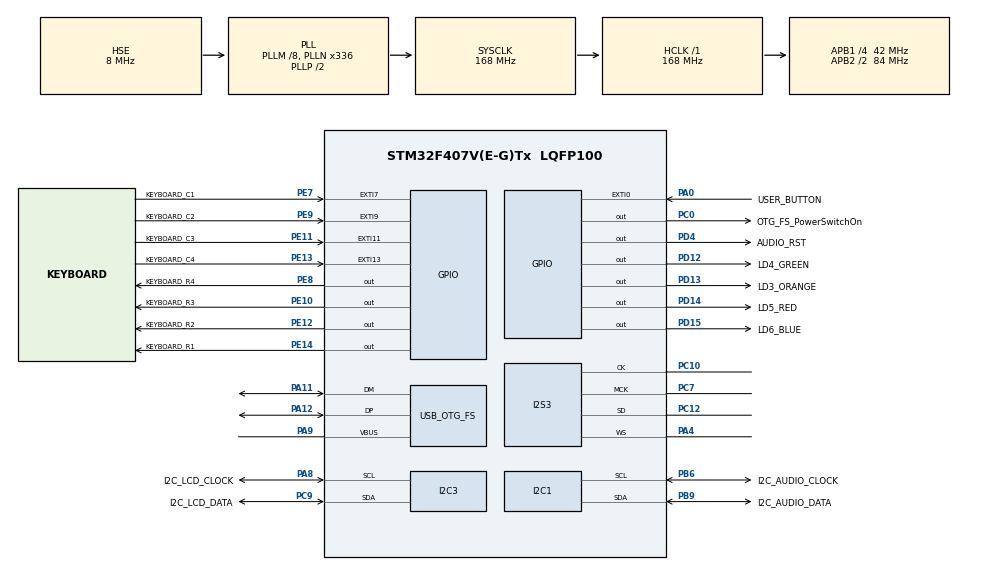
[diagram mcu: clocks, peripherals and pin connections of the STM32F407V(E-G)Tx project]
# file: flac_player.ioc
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Dma.Request0=SPI3_TX
Dma.SPI3_TX.0.Direction=DMA_MEMORY_TO_PERIPH
Dma.SPI3_TX.0.FIFOMode=DMA_FIFOMODE_ENABLE
Dma.SPI3_TX.0.FIFOThreshold=DMA_FIFO_THRESHOLD_FULL
Dma.SPI3_TX.0.Instance=DMA1_Stream5
Dma.SPI3_TX.0.MemBurst=DMA_MBURST_SINGLE
Dma.SPI3_TX.0.MemDataAlignment=DMA_MDATAALIGN_HALFWORD
Dma.SPI3_TX.0.MemInc=DMA_MINC_ENABLE
Dma.SPI3_TX.0.Mode=DMA_CIRCULAR
Dma.SPI3_TX.0.PeriphBurst=DMA_PBURST_SINGLE
Dma.SPI3_TX.0.PeriphDataAlignment=DMA_PDATAALIGN_HALFWORD
Dma.SPI3_TX.0.PeriphInc=DMA_PINC_DISABLE
Dma.SPI3_TX.0.Priority=DMA_PRIORITY_LOW
FATFS._USE_LFN=1
I2S3.AudioFreq=I2S_AUDIOFREQ_44K
I2S3.DataFormat=I2S_DATAFORMAT_16B
I2S3.ErrorAudioFreq=0.24 %
I2S3.FullDuplexMode=I2S_FULLDUPLEXMODE_DISABLE
I2S3.Instance=SPI$Index
I2S3.RealAudioFreq=44.108 KHz
I2S3.VirtualMode=I2S_MODE_MASTER
Mcu.Family=STM32F4
Mcu.Name=STM32F407V(E-G)Tx
Mcu.Package=LQFP100
NVIC.DMA1_Stream5_IRQn=true\:0\:0\:false\:false\:true\:false\:true\:true
NVIC.EXTI0_IRQn=true\:0\:0\:false\:false\:true\:true\:true\:true
NVIC.EXTI15_10_IRQn=true\:0\:0\:false\:false\:true\:true\:true\:true
NVIC.EXTI9_5_IRQn=true\:0\:0\:false\:false\:true\:true\:true\:true
NVIC.HASH_RNG_IRQn=true\:0\:0\:false\:false\:true\:true\:true\:true
NVIC.OTG_FS_IRQn=true\:0\:0\:false\:false\:true\:true\:true\:true
NVIC.PriorityGroup=NVIC_PRIORITYGROUP_0
NVIC.TIM2_IRQn=true\:0\:0\:false\:false\:true\:true\:true\:true
PA0-WKUP.GPIO_Label=USER_BUTTON
PA0-WKUP.GPIO_ModeDefaultEXTI=GPIO_MODE_IT_FALLING
PA0-WKUP.GPIO_PuPd=GPIO_NOPULL
PA0-WKUP.Signal=GPXTI0
PA11.Mode=Host_Only
PA11.Signal=USB_OTG_FS_DM
PA12.Mode=Host_Only
PA12.Signal=USB_OTG_FS_DP
PA4.Mode=Half_Duplex_Master
PA4.Signal=I2S3_WS
PA8.GPIO_Label=I2C_LCD_CLOCK
PA8.GPIO_Pu=GPIO_PULLUP
PA8.Mode=I2C
PA8.Signal=I2C3_SCL
PA9.Mode=Activate_VBUS
PA9.Signal=USB_OTG_FS_VBUS
PB6.GPIO_Label=I2C_AUDIO_CLOCK
PB6.Mode=I2C
PB6.Signal=I2C1_SCL
PB9.GPIO_Label=I2C_AUDIO_DATA
PB9.Mode=I2C
PB9.Signal=I2C1_SDA
PC0.GPIO_Label=OTG_FS_PowerSwitchOn
PC0.Signal=GPIO_Output
PC10.Mode=Half_Duplex_Master
PC10.Signal=I2S3_CK
PC12.Mode=Half_Duplex_Master
PC12.Signal=I2S3_SD
PC7.Mode=Master_Clock_Activated
PC7.Signal=I2S3_MCK
PC9.GPIO_Label=I2C_LCD_DATA
PC9.GPIO_Pu=GPIO_PULLUP
PC9.Mode=I2C
PC9.Signal=I2C3_SDA
PD12.GPIO_Label=LD4_GREEN
PD12.Signal=GPIO_Output
PD13.GPIO_Label=LD3_ORANGE
PD13.Signal=GPIO_Output
PD14.GPIO_Label=LD5_RED
PD14.Signal=GPIO_Output
PD15.GPIO_Label=LD6_BLUE
PD15.Signal=GPIO_Output
PD4.GPIO_Label=AUDIO_RST
PD4.Signal=GPIO_Output
PE10.GPIO_Label=KEYBOARD_R3
PE10.Signal=GPIO_Output
PE11.GPIO_Label=KEYBOARD_C3
PE11.GPIO_ModeDefaultEXTI=GPIO_MODE_IT_FALLING
PE11.GPIO_PuPd=GPIO_PULLUP
PE11.Signal=GPXTI11
PE12.GPIO_Label=KEYBOARD_R2
PE12.Signal=GPIO_Output
PE13.GPIO_Label=KEYBOARD_C4
PE13.GPIO_ModeDefaultEXTI=GPIO_MODE_IT_FALLING
PE13.GPIO_PuPd=GPIO_PULLUP
PE13.Signal=GPXTI13
PE14.GPIO_Label=KEYBOARD_R1
PE14.Signal=GPIO_Output
PE7.GPIO_Label=KEYBOARD_C1
PE7.GPIO_ModeDefaultEXTI=GPIO_MODE_IT_FALLING
PE7.GPIO_PuPd=GPIO_PULLUP
PE7.Signal=GPXTI7
PE8.GPIO_Label=KEYBOARD_R4
PE8.Signal=GPIO_Output
PE9.GPIO_Label=KEYBOARD_C2
PE9.GPIO_ModeDefaultEXTI=GPIO_MODE_IT_FALLING
PE9.GPIO_PuPd=GPIO_PULLUP
PE9.Signal=GPXTI9
PH0-OSC_IN.Mode=HSE-External-Oscillator
PH0-OSC_IN.Signal=RCC_OSC_IN
PH1-OSC_OUT.Mode=HSE-External-Oscillator
PH1-OSC_OUT.Signal=RCC_OSC_OUT
ProjectManager.HeapSize=0x1000
ProjectManager.StackSize=0x1000
ProjectManager.TargetToolchain=STM32CubeIDE
RCC.48MHZClocksFreq_Value=48000000
RCC.AHBFreq_Value=168000000
RCC.APB1CLKDivider=RCC_HCLK_DIV4
RCC.APB1Freq_Value=42000000
RCC.APB1TimFreq_Value=84000000
RCC.APB2CLKDivider=RCC_HCLK_DIV2
RCC.APB2Freq_Value=84000000
RCC.APB2TimFreq_Value=168000000
RCC.CortexFreq_Value=168000000
RCC.HCLKFreq_Value=168000000
RCC.HSE_VALUE=8000000
RCC.HSI_VALUE=16000000
RCC.LSE_VALUE=32768
RCC.PLLI2SN=271
RCC.PLLI2SR=6
RCC.PLLM=8
RCC.PLLN=336
RCC.PLLQ=7
RCC.SYSCLKFreq_VALUE=168000000
RCC.SYSCLKSource=RCC_SYSCLKSOURCE_PLLCLK
RCC.VCOOutputFreq_Value=336000000
TIM2.Period=5000-1
TIM2.Prescaler=16800-1
USB_HOST.SW_VBUS_DRIVE_MSC_FS=false
USB_HOST.USBH_HandleTypeDef-MSC_FS=hUsbHostFS
USB_HOST.VirtualModeFS=Msc
USB_OTG_FS.VirtualMode=Host_Only
USB_OTG_FS.phy_itface=HCD_PHY_EMBEDDED
VP_FATFS_VS_USB.Mode=USB
VP_RNG_VS_RNG.Mode=RNG_Activate
VP_TIM2_VS_ClockSourceINT.Mode=Internal
VP_USB_HOST_VS_USB_HOST_MSC_FS.Mode=MSC_FS
board=STM32F407G-DISC1

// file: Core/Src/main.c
/* USER CODE BEGIN Header */
/**
 ******************************************************************************
 * @file           : main.c
 * @brief          : Main program body
 ******************************************************************************
 * @attention
 *
 * Copyright (c) 2025 STMicroelectronics.
 * All rights reserved.
 *
 * This software is licensed under terms that can be found in the LICENSE file
 * in the root directory of this software component.
 * If no LICENSE file comes with this software, it is provided AS-IS.
 *
 ******************************************************************************
 */
/* USER CODE END Header */
#include "main.h"
#include "fatfs.h"
#include "usb_host.h"

/* USER CODE BEGIN Includes */
#include "CS43L22.h"
#include "audioI2S.h"
#include "lcd16x2_i2c.h"
#include "wav_player.h"

/* USER CODE END Includes */

/* USER CODE BEGIN PTD */
extern ApplicationTypeDef Appli_state;
extern WAV_FileList wavFiles;

/* USER CODE END PTD */

/* USER CODE BEGIN PD */
#define NUM_ROWS 4
#define NUM_COLS 4

/* USER CODE END PD */

I2C_HandleTypeDef hi2c1;
I2C_HandleTypeDef hi2c3;

I2S_HandleTypeDef hi2s3;
DMA_HandleTypeDef hdma_spi3_tx;

TIM_HandleTypeDef htim2;

/* USER CODE BEGIN PV */

bool is_usb_mounted = false;

bool continue_playback = false;
bool play_pause_toggle = false;
bool mute_toggle = false;
uint8_t volume = 191;
uint8_t chars_to_display;

volatile uint8_t key_number = 0;
volatile uint8_t user_button = 0;

char scroll_text[MAX_FILENAME_LENGTH];
uint8_t text_length = 0;
uint8_t current_position = 0;
uint16_t scroll_delay = 750;
uint8_t scrolling_active = 0;

GPIO_InitTypeDef GPIO_InitStructPrivate = {0};

GPIO_TypeDef *ROW_PORTS[4] = {
    KEYBOARD_R1_GPIO_Port,
    KEYBOARD_R2_GPIO_Port,
    KEYBOARD_R3_GPIO_Port,
    KEYBOARD_R4_GPIO_Port};

const uint16_t ROW_PINS[4] = {
    KEYBOARD_R1_Pin,
    KEYBOARD_R2_Pin,
    KEYBOARD_R3_Pin,
    KEYBOARD_R4_Pin};

const uint16_t COL_PINS[4] = {
    KEYBOARD_C1_Pin,
    KEYBOARD_C2_Pin,
    KEYBOARD_C3_Pin,
    KEYBOARD_C4_Pin};

// Lookup table for key values
const uint8_t KEY_VALUES[4][4] = {
    {1, 2, 3, 4},    // Row 1 values
    {5, 6, 7, 8},    // Row 2 values
    {9, 10, 11, 12}, // Row 3 values
    {13, 14, 15, 16} // Row 4 values
};

uint32_t previous_time = 0;
uint32_t current_time = 0;

/* USER CODE END PV */

void SystemClock_Config(void);
static void MX_GPIO_Init(void);
static void MX_DMA_Init(void);
static void MX_I2C1_Init(void);
static void MX_I2S3_Init(void);
static void MX_I2C3_Init(void);
static void MX_TIM2_Init(void);
void MX_USB_HOST_Process(void);

/* USER CODE BEGIN PFP */
void initialize_peripherals(void);
void file_select(void);
void handle_player_controls(void);
void handle_play_pause_toggle(void);
void update_track_display(void);
void display_text(const char *text);
void update_volume_bar(uint8_t volume);

/* USER CODE END PFP */

/* USER CODE BEGIN 0 */
void initialize_peripherals()
{
    // Audio init
    CS43_Init(hi2c1, CS43_MODE_I2S);
    CS43_set_volume(volume);
    CS43_enable_right_left(CS43_RIGHT_LEFT);
    audioI2S_setHandle(&hi2s3);

    // LCD init
    lcd16x2_i2c_init(&hi2c3);
    lcd16x2_i2c_audio_ch();
    HAL_TIM_Base_Start_IT(&htim2);

    // Red LED init
    HAL_GPIO_WritePin(LD5_RED_GPIO_Port, LD5_RED_Pin, GPIO_PIN_SET);
}

void file_select(void)
{
    while (key_number != 6)
    {
        switch (key_number)
        {
        case 5: // Previous file
            wavFiles.currentIndex = (wavFiles.currentIndex - 1 + wavFiles.count) % wavFiles.count;
            lcd16x2_i2c_clear();
            update_track_display();
            key_number = 0;
            break;
        case 6: // Select
            continue_playback = true;
            break;
        case 7: // Next file
            wavFiles.currentIndex = (wavFiles.currentIndex + 1) % wavFiles.count;
            lcd16x2_i2c_clear();
            update_track_display();
            key_number = 0;
            break;
        }
    }
    key_number = 0;
}

void handle_player_controls(void)
{
    switch (key_number)
    {
    case 1: // Stop
        wavPlayer_stop();
        lcd16x2_i2c_clear();
        continue_playback = false;
        play_pause_toggle = 0;
        break;
    case 2: // Volume Up
        volume = (255 - volume >= 16) ? volume + 16 : 255;
        CS43_set_volume(volume);
        update_volume_bar(volume);
        break;
    case 3: // Mute
        mute_toggle ^= 1;
        CS43_set_mute(mute_toggle);
        update_volume_bar(mute_toggle ? 0 : volume);
        break;
    case 5: // Previous Track
        wavPlayer_previousTrack();
        wavPlayer_play();
        lcd16x2_i2c_set_cursor(1, 8);
        lcd16x2_i2c_print_audio(chars_to_display > 8 ? "//i" : "//p");
        HAL_GPIO_WritePin(LD6_BLUE_GPIO_Port, LD6_BLUE_Pin, GPIO_PIN_SET);
        update_track_display();
        break;
    case 6: // Play/Pause
        handle_play_pause_toggle();
        break;
    case 7: // Next Track
        wavPlayer_nextTrack();
        wavPlayer_play();
        lcd16x2_i2c_set_cursor(1, 8);
        lcd16x2_i2c_print_audio(chars_to_display > 8 ? "//i" : "//p");
        HAL_GPIO_WritePin(LD6_BLUE_GPIO_Port, LD6_BLUE_Pin, GPIO_PIN_SET);
        update_track_display();
        break;
    case 10: // Volume Down
        volume = (volume >= 16) ? volume - 16 : 0;
        CS43_set_volume(volume);
        update_volume_bar(volume);
        break;
    }
    key_number = 0;
}

void handle_play_pause_toggle(void)
{
    play_pause_toggle ^= 1;
    lcd16x2_i2c_set_cursor(1, 8);
    if (play_pause_toggle)
    {
        wavPlayer_pause();
        lcd16x2_i2c_print_audio(chars_to_display > 8 ? "//I" : "//P");
        HAL_GPIO_WritePin(LD6_BLUE_GPIO_Port, LD6_BLUE_Pin, GPIO_PIN_RESET);
    }
    else
    {
        wavPlayer_resume();
        lcd16x2_i2c_print_audio(chars_to_display > 8 ? "//i" : "//p");
        HAL_GPIO_WritePin(LD6_BLUE_GPIO_Port, LD6_BLUE_Pin, GPIO_PIN_SET);
    }
}

void update_track_display(void)
{
    lcd16x2_i2c_set_cursor(0, 0);
    lcd16x2_i2c_printf("                ");
    lcd16x2_i2c_set_cursor(0, 0);
    display_text(wavFiles.filenames[wavFiles.currentIndex]);
}

void display_text(const char *text)
{
    snprintf(scroll_text, MAX_FILENAME_LENGTH - 1, "%s%s", text, strlen(text) > 16 ? "      " : "");
    scroll_text[MAX_FILENAME_LENGTH - 1] = '\0';
    text_length = strlen(scroll_text);

    char display[17] = {0};
    strncpy(display, scroll_text, 16);

    lcd16x2_i2c_printf(display);

    scrolling_active = (text_length > 16);
    current_position = 0;
}

void update_volume_bar(uint8_t volume)
{
    // Calculate how many characters to display (0-16 range)
    chars_to_display = (volume * 16 + 127) / 255;

    // Draw first half (positions 0-7)
    lcd16x2_i2c_set_cursor(1, 0);
    for (uint8_t i = 0; i < 16; i++)
        {
            lcd16x2_i2c_print_audio(i < chars_to_display ? "//v" : " ");
        }

    lcd16x2_i2c_set_cursor(1, 8);
        if (chars_to_display > 8)
        {
            lcd16x2_i2c_print_audio(play_pause_toggle ? "//I" : "//i"); // Inverted symbols
        }
        else
        {
            lcd16x2_i2c_print_audio(play_pause_toggle ? "//P" : "//p"); // Normal symbols
        }
}

/* USER CODE END 0 */

int main(void)
{

    /* MCU Configuration--------------------------------------------------------*/

    /* Reset of all peripherals, Initializes the Flash interface and the Systick. */
    HAL_Init();

    /* Configure the system clock */
    SystemClock_Config();

    /* Initialize all configured peripherals */
    MX_GPIO_Init();
    MX_DMA_Init();
    MX_I2C1_Init();
    MX_I2S3_Init();
    MX_I2C3_Init();
    MX_USB_HOST_Init();
    MX_FATFS_Init();
    MX_TIM2_Init();
    /* USER CODE BEGIN 2 */
    initialize_peripherals();

    /* USER CODE END 2 */

    /* Infinite loop */
    while (1)
    {
        MX_USB_HOST_Process();

        /* USER CODE BEGIN 3 */
        if (Appli_state == APPLICATION_START)
        {
            HAL_GPIO_WritePin(LD4_GREEN_GPIO_Port, LD4_GREEN_Pin, GPIO_PIN_SET);
            HAL_GPIO_WritePin(LD5_RED_GPIO_Port, LD5_RED_Pin, GPIO_PIN_RESET);
        }
        else if (Appli_state == APPLICATION_DISCONNECT)
        {
            HAL_GPIO_WritePin(LD4_GREEN_GPIO_Port, LD4_GREEN_Pin, GPIO_PIN_RESET);
            HAL_GPIO_WritePin(LD5_RED_GPIO_Port, LD5_RED_Pin, GPIO_PIN_SET);
        }

        if (Appli_state == APPLICATION_READY)
        {
            if (!is_usb_mounted)
            {
                f_mount(&USBHFatFS, (const TCHAR *)USBHPath, 1);
                is_usb_mounted = true;
                wavPlayer_scanUSB();
            }

            update_track_display();

            if (!continue_playback)
            {
                file_select();
            }

            lcd16x2_i2c_set_cursor(1, 8);
            lcd16x2_i2c_print_audio("//p");
            update_volume_bar(volume);
            HAL_GPIO_WritePin(LD6_BLUE_GPIO_Port, LD6_BLUE_Pin, GPIO_PIN_SET);

            wavPlayer_fileSelect(wavFiles.filenames[wavFiles.currentIndex]);
            wavPlayer_play();

            while (!wavPlayer_isFinished())
            {
                wavPlayer_process();
                handle_player_controls();
                if (!continue_playback)
                    break;
            }
            if (continue_playback)
            {
                audioI2S_stop();
                wavFiles.currentIndex = (wavFiles.currentIndex + 1) % wavFiles.count;
                update_track_display();
            }
        }
    }

    /* USER CODE END 3 */
}

void SystemClock_Config(void)
{
    RCC_OscInitTypeDef RCC_OscInitStruct = {0};
    RCC_ClkInitTypeDef RCC_ClkInitStruct = {0};

    /** Configure the main internal regulator output voltage
     */
    __HAL_RCC_PWR_CLK_ENABLE();
    __HAL_PWR_VOLTAGESCALING_CONFIG(PWR_REGULATOR_VOLTAGE_SCALE1);

    /** Initializes the RCC Oscillators according to the specified parameters
     * in the RCC_OscInitTypeDef structure.
     */
    RCC_OscInitStruct.OscillatorType = RCC_OSCILLATORTYPE_HSE;
    RCC_OscInitStruct.HSEState = RCC_HSE_ON;
    RCC_OscInitStruct.PLL.PLLState = RCC_PLL_ON;
    RCC_OscInitStruct.PLL.PLLSource = RCC_PLLSOURCE_HSE;
    RCC_OscInitStruct.PLL.PLLM = 8;
    RCC_OscInitStruct.PLL.PLLN = 336;
    RCC_OscInitStruct.PLL.PLLP = RCC_PLLP_DIV2;
    RCC_OscInitStruct.PLL.PLLQ = 7;
    if (HAL_RCC_OscConfig(&RCC_OscInitStruct) != HAL_OK)
    {
        Error_Handler();
    }

    /** Initializes the CPU, AHB and APB buses clocks
     */
    RCC_ClkInitStruct.ClockType = RCC_CLOCKTYPE_HCLK | RCC_CLOCKTYPE_SYSCLK | RCC_CLOCKTYPE_PCLK1 | RCC_CLOCKTYPE_PCLK2;
    RCC_ClkInitStruct.SYSCLKSource = RCC_SYSCLKSOURCE_PLLCLK;
    RCC_ClkInitStruct.AHBCLKDivider = RCC_SYSCLK_DIV1;
    RCC_ClkInitStruct.APB1CLKDivider = RCC_HCLK_DIV4;
    RCC_ClkInitStruct.APB2CLKDivider = RCC_HCLK_DIV2;

    if (HAL_RCC_ClockConfig(&RCC_ClkInitStruct, FLASH_LATENCY_5) != HAL_OK)
    {
        Error_Handler();
    }
}

static void MX_I2C1_Init(void)
{

    hi2c1.Instance = I2C1;
    hi2c1.Init.ClockSpeed = 100000;
    hi2c1.Init.DutyCycle = I2C_DUTYCYCLE_2;
    hi2c1.Init.OwnAddress1 = 0;
    hi2c1.Init.AddressingMode = I2C_ADDRESSINGMODE_7BIT;
    hi2c1.Init.DualAddressMode = I2C_DUALADDRESS_DISABLE;
    hi2c1.Init.OwnAddress2 = 0;
    hi2c1.Init.GeneralCallMode = I2C_GENERALCALL_DISABLE;
    hi2c1.Init.NoStretchMode = I2C_NOSTRETCH_DISABLE;
    if (HAL_I2C_Init(&hi2c1) != HAL_OK)
    {
        Error_Handler();
    }
}

static void MX_I2C3_Init(void)
{

    hi2c3.Instance = I2C3;
    hi2c3.Init.ClockSpeed = 100000;
    hi2c3.Init.DutyCycle = I2C_DUTYCYCLE_2;
    hi2c3.Init.OwnAddress1 = 0;
    hi2c3.Init.AddressingMode = I2C_ADDRESSINGMODE_7BIT;
    hi2c3.Init.DualAddressMode = I2C_DUALADDRESS_DISABLE;
    hi2c3.Init.OwnAddress2 = 0;
    hi2c3.Init.GeneralCallMode = I2C_GENERALCALL_DISABLE;
    hi2c3.Init.NoStretchMode = I2C_NOSTRETCH_DISABLE;
    if (HAL_I2C_Init(&hi2c3) != HAL_OK)
    {
        Error_Handler();
    }
}

static void MX_I2S3_Init(void)
{

    hi2s3.Instance = SPI3;
    hi2s3.Init.Mode = I2S_MODE_MASTER_TX;
    hi2s3.Init.Standard = I2S_STANDARD_PHILIPS;
    hi2s3.Init.DataFormat = I2S_DATAFORMAT_16B;
    hi2s3.Init.MCLKOutput = I2S_MCLKOUTPUT_ENABLE;
    hi2s3.Init.AudioFreq = I2S_AUDIOFREQ_44K;
    hi2s3.Init.CPOL = I2S_CPOL_LOW;
    hi2s3.Init.ClockSource = I2S_CLOCK_PLL;
    hi2s3.Init.FullDuplexMode = I2S_FULLDUPLEXMODE_DISABLE;
    if (HAL_I2S_Init(&hi2s3) != HAL_OK)
    {
        Error_Handler();
    }
}

static void MX_TIM2_Init(void)
{

    TIM_ClockConfigTypeDef sClockSourceConfig = {0};
    TIM_MasterConfigTypeDef sMasterConfig = {0};

    htim2.Instance = TIM2;
    htim2.Init.Prescaler = 168000 - 1;
    htim2.Init.CounterMode = TIM_COUNTERMODE_UP;
    htim2.Init.Period = scroll_delay - 1;
    htim2.Init.ClockDivision = TIM_CLOCKDIVISION_DIV1;
    htim2.Init.AutoReloadPreload = TIM_AUTORELOAD_PRELOAD_DISABLE;
    if (HAL_TIM_Base_Init(&htim2) != HAL_OK)
    {
        Error_Handler();
    }
    sClockSourceConfig.ClockSource = TIM_CLOCKSOURCE_INTERNAL;
    if (HAL_TIM_ConfigClockSource(&htim2, &sClockSourceConfig) != HAL_OK)
    {
        Error_Handler();
    }
    sMasterConfig.MasterOutputTrigger = TIM_TRGO_RESET;
    sMasterConfig.MasterSlaveMode = TIM_MASTERSLAVEMODE_DISABLE;
    if (HAL_TIMEx_MasterConfigSynchronization(&htim2, &sMasterConfig) != HAL_OK)
    {
        Error_Handler();
    }
}

static void MX_DMA_Init(void)
{

    /* DMA controller clock enable */
    __HAL_RCC_DMA1_CLK_ENABLE();

    /* DMA interrupt init */
    /* DMA1_Stream5_IRQn interrupt configuration */
    HAL_NVIC_SetPriority(DMA1_Stream5_IRQn, 0, 0);
    HAL_NVIC_EnableIRQ(DMA1_Stream5_IRQn);
}

static void MX_GPIO_Init(void)
{
    GPIO_InitTypeDef GPIO_InitStruct = {0};

    /* GPIO Ports Clock Enable */
    __HAL_RCC_GPIOH_CLK_ENABLE();
    __HAL_RCC_GPIOC_CLK_ENABLE();
    __HAL_RCC_GPIOA_CLK_ENABLE();
    __HAL_RCC_GPIOE_CLK_ENABLE();
    __HAL_RCC_GPIOD_CLK_ENABLE();
    __HAL_RCC_GPIOB_CLK_ENABLE();

    /*Configure GPIO pin Output Level */
    HAL_GPIO_WritePin(OTG_FS_PowerSwitchOn_GPIO_Port, OTG_FS_PowerSwitchOn_Pin, GPIO_PIN_RESET);

    /*Configure GPIO pin Output Level */
    HAL_GPIO_WritePin(GPIOE, KEYBOARD_R4_Pin | KEYBOARD_R3_Pin | KEYBOARD_R2_Pin | KEYBOARD_R1_Pin, GPIO_PIN_RESET);

    /*Configure GPIO pin Output Level */
    HAL_GPIO_WritePin(GPIOD, LD4_GREEN_Pin | LD3_ORANGE_Pin | LD5_RED_Pin | LD6_BLUE_Pin | AUDIO_RST_Pin, GPIO_PIN_RESET);

    /*Configure GPIO pin : OTG_FS_PowerSwitchOn_Pin */
    GPIO_InitStruct.Pin = OTG_FS_PowerSwitchOn_Pin;
    GPIO_InitStruct.Mode = GPIO_MODE_OUTPUT_PP;
    GPIO_InitStruct.Pull = GPIO_NOPULL;
    GPIO_InitStruct.Speed = GPIO_SPEED_FREQ_LOW;
    HAL_GPIO_Init(OTG_FS_PowerSwitchOn_GPIO_Port, &GPIO_InitStruct);

    /*Configure GPIO pin : USER_BUTTON_Pin */
    GPIO_InitStruct.Pin = USER_BUTTON_Pin;
    GPIO_InitStruct.Mode = GPIO_MODE_IT_FALLING;
    GPIO_InitStruct.Pull = GPIO_NOPULL;
    HAL_GPIO_Init(USER_BUTTON_GPIO_Port, &GPIO_InitStruct);

    /*Configure GPIO pins : KEYBOARD_C1_Pin KEYBOARD_C2_Pin KEYBOARD_C3_Pin KEYBOARD_C4_Pin */
    GPIO_InitStruct.Pin = KEYBOARD_C1_Pin | KEYBOARD_C2_Pin | KEYBOARD_C3_Pin | KEYBOARD_C4_Pin;
    GPIO_InitStruct.Mode = GPIO_MODE_IT_FALLING;
    GPIO_InitStruct.Pull = GPIO_PULLUP;
    HAL_GPIO_Init(GPIOE, &GPIO_InitStruct);

    /*Configure GPIO pins : KEYBOARD_R4_Pin KEYBOARD_R3_Pin KEYBOARD_R2_Pin KEYBOARD_R1_Pin */
    GPIO_InitStruct.Pin = KEYBOARD_R4_Pin | KEYBOARD_R3_Pin | KEYBOARD_R2_Pin | KEYBOARD_R1_Pin;
    GPIO_InitStruct.Mode = GPIO_MODE_OUTPUT_PP;
    GPIO_InitStruct.Pull = GPIO_NOPULL;
    GPIO_InitStruct.Speed = GPIO_SPEED_FREQ_LOW;
    HAL_GPIO_Init(GPIOE, &GPIO_InitStruct);

    /*Configure GPIO pins : LD4_GREEN_Pin LD3_ORANGE_Pin LD5_RED_Pin LD6_BLUE_Pin
                             AUDIO_RST_Pin */
    GPIO_InitStruct.Pin = LD4_GREEN_Pin | LD3_ORANGE_Pin | LD5_RED_Pin | LD6_BLUE_Pin | AUDIO_RST_Pin;
    GPIO_InitStruct.Mode = GPIO_MODE_OUTPUT_PP;
    GPIO_InitStruct.Pull = GPIO_NOPULL;
    GPIO_InitStruct.Speed = GPIO_SPEED_FREQ_LOW;
    HAL_GPIO_Init(GPIOD, &GPIO_InitStruct);

    /* EXTI interrupt init*/
    HAL_NVIC_SetPriority(EXTI0_IRQn, 0, 0);
    HAL_NVIC_EnableIRQ(EXTI0_IRQn);

    HAL_NVIC_SetPriority(EXTI9_5_IRQn, 0, 0);
    HAL_NVIC_EnableIRQ(EXTI9_5_IRQn);

    HAL_NVIC_SetPriority(EXTI15_10_IRQn, 0, 0);
    HAL_NVIC_EnableIRQ(EXTI15_10_IRQn);

}

/* USER CODE BEGIN 4 */
void HAL_GPIO_EXTI_Callback(uint16_t GPIO_Pin)
{
    current_time = HAL_GetTick();
    if (current_time - previous_time <= 100)
    {
        return;
    }

    if (GPIO_Pin == USER_BUTTON_Pin)
    {
        user_button = 1;
    }
    else
    {
        GPIO_InitStructPrivate.Pin = KEYBOARD_C1_Pin | KEYBOARD_C2_Pin | KEYBOARD_C3_Pin | KEYBOARD_C4_Pin;
        GPIO_InitStructPrivate.Mode = GPIO_MODE_INPUT;
        GPIO_InitStructPrivate.Pull = GPIO_PULLUP;
        GPIO_InitStructPrivate.Speed = GPIO_SPEED_FREQ_LOW;
        HAL_GPIO_Init(GPIOE, &GPIO_InitStructPrivate);
        int triggered_col = -1;
        for (int col = 0; col < NUM_COLS; col++)
        {
            if (GPIO_Pin == COL_PINS[col])
            {
                triggered_col = col;
                break;
            }
        }
        if (triggered_col != -1)
        {
            for (int row = 0; row < NUM_ROWS; row++)
            {
                HAL_GPIO_WritePin(ROW_PORTS[row], ROW_PINS[row], GPIO_PIN_SET);
            }
            for (int row = 0; row < NUM_ROWS; row++)
            {
                HAL_GPIO_WritePin(ROW_PORTS[row], ROW_PINS[row], GPIO_PIN_RESET);
                if (!HAL_GPIO_ReadPin(GPIOE, COL_PINS[triggered_col]))
                {
                    key_number = KEY_VALUES[row][triggered_col];
                    HAL_GPIO_WritePin(ROW_PORTS[row], ROW_PINS[row], GPIO_PIN_SET);
                    break;
                }
                HAL_GPIO_WritePin(ROW_PORTS[row], ROW_PINS[row], GPIO_PIN_SET);
            }
        }
        for (int row = 0; row < NUM_ROWS; row++)
        {
            HAL_GPIO_WritePin(ROW_PORTS[row], ROW_PINS[row], GPIO_PIN_RESET);
        }
        GPIO_InitStructPrivate.Mode = GPIO_MODE_IT_FALLING;
        GPIO_InitStructPrivate.Pull = GPIO_PULLUP;
        HAL_GPIO_Init(GPIOE, &GPIO_InitStructPrivate);
    }
    previous_time = current_time;
}

void HAL_TIM_PeriodElapsedCallback(TIM_HandleTypeDef *htim)
{
    if (htim->Instance == TIM2 && scrolling_active)
    {
        char display[17] = {0};

        // Create display buffer with current scroll position
        for (uint8_t i = 0; i < 16; i++)
        {
            uint8_t text_pos = (current_position + i) % text_length;
            display[i] = scroll_text[text_pos];
        }
        display[16] = '\0';

        // Update LCD
        lcd16x2_i2c_set_cursor(0, 0);
        lcd16x2_i2c_printf(display);

        // Update position for next scroll
        current_position = (current_position + 1) % text_length;
    }
}

/* USER CODE END 4 */

void Error_Handler(void)
{
    __disable_irq();
    while (1)
    {
    }
}
